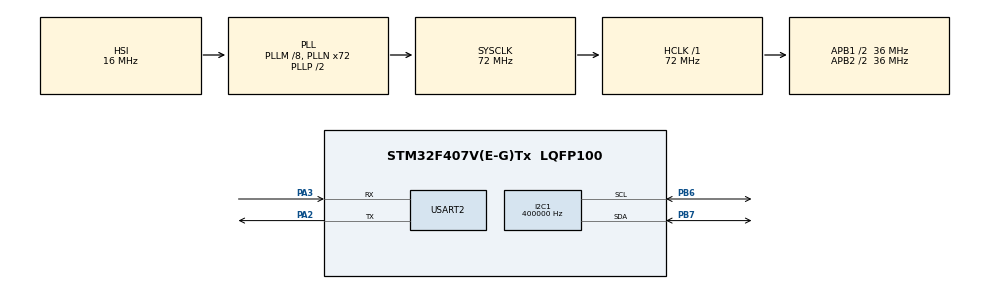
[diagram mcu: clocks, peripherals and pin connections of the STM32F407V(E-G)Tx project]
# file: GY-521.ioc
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I2C1.ClockSpeed=400000
I2C1.I2C_Mode=I2C_Fast
Mcu.Family=STM32F4
Mcu.Name=STM32F407V(E-G)Tx
Mcu.Package=LQFP100
NVIC.PriorityGroup=NVIC_PRIORITYGROUP_4
NVIC.USART2_IRQn=true\:0\:0\:false\:false\:true
PA13.Mode=Serial_Wire
PA13.Signal=SYS_JTMS-SWDIO
PA14.Mode=Serial_Wire
PA14.Signal=SYS_JTCK-SWCLK
PA2.Mode=Asynchronous
PA2.Signal=USART2_TX
PA3.Mode=Asynchronous
PA3.Signal=USART2_RX
PB6.Mode=I2C
PB6.Signal=I2C1_SCL
PB7.Mode=I2C
PB7.Signal=I2C1_SDA
ProjectManager.HeapSize=0x200
ProjectManager.StackSize=0x400
ProjectManager.TargetToolchain=SW4STM32
RCC.48MHZClocksFreq_Value=36000000
RCC.AHBFreq_Value=72000000
RCC.APB1CLKDivider=RCC_HCLK_DIV2
RCC.APB1Freq_Value=36000000
RCC.APB1TimFreq_Value=72000000
RCC.APB2CLKDivider=RCC_HCLK_DIV2
RCC.APB2Freq_Value=36000000
RCC.APB2TimFreq_Value=72000000
RCC.CortexFreq_Value=72000000
RCC.HCLKFreq_Value=72000000
RCC.HSE_VALUE=25000000
RCC.HSI_VALUE=16000000
RCC.LSE_VALUE=32768
RCC.PLLM=8
RCC.PLLN=72
RCC.SYSCLKFreq_VALUE=72000000
RCC.SYSCLKSource=RCC_SYSCLKSOURCE_PLLCLK
RCC.VCOOutputFreq_Value=144000000
board=GY-521

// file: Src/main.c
/**
  ******************************************************************************
  * File Name          : main.c
  * Description        : Main program body
  ******************************************************************************
  *
  * COPYRIGHT(c) 2016 STMicroelectronics
  *
  * Redistribution and use in source and binary forms, with or without modification,
  * are permitted provided that the following conditions are met:
  *   1. Redistributions of source code must retain the above copyright notice,
  *      this list of conditions and the following disclaimer.
  *   2. Redistributions in binary form must reproduce the above copyright notice,
  *      this list of conditions and the following disclaimer in the documentation
  *      and/or other materials provided with the distribution.
  *   3. Neither the name of STMicroelectronics nor the names of its contributors
  *      may be used to endorse or promote products derived from this software
  *      without specific prior written permission.
  *
  * THIS SOFTWARE IS PROVIDED BY THE COPYRIGHT HOLDERS AND CONTRIBUTORS "AS IS"
  * AND ANY EXPRESS OR IMPLIED WARRANTIES, INCLUDING, BUT NOT LIMITED TO, THE
  * IMPLIED WARRANTIES OF MERCHANTABILITY AND FITNESS FOR A PARTICULAR PURPOSE ARE
  * DISCLAIMED. IN NO EVENT SHALL THE COPYRIGHT HOLDER OR CONTRIBUTORS BE LIABLE
  * FOR ANY DIRECT, INDIRECT, INCIDENTAL, SPECIAL, EXEMPLARY, OR CONSEQUENTIAL
  * DAMAGES (INCLUDING, BUT NOT LIMITED TO, PROCUREMENT OF SUBSTITUTE GOODS OR
  * SERVICES; LOSS OF USE, DATA, OR PROFITS; OR BUSINESS INTERRUPTION) HOWEVER
  * CAUSED AND ON ANY THEORY OF LIABILITY, WHETHER IN CONTRACT, STRICT LIABILITY,
  * OR TORT (INCLUDING NEGLIGENCE OR OTHERWISE) ARISING IN ANY WAY OUT OF THE USE
  * OF THIS SOFTWARE, EVEN IF ADVISED OF THE POSSIBILITY OF SUCH DAMAGE.
  *
  ******************************************************************************
  */
#include "main.h"
#include "stm32f4xx_hal.h"
#include "i2c.h"
#include "usart.h"
#include "gpio.h"
#include <stdio.h>

/* USER CODE BEGIN Includes */
#include "EV_MPU6050_hal.h"
/* USER CODE END Includes */

/* USER CODE BEGIN PV */

/* Private variables ---------------------------------------------------------*/
//I2C_HandleTypeDef hi2c1;
////////////////////////////////////////////////////////////////////////////////
 MPU6050 mpu1;
////////////////////////////////////////////////////////////////////////////////
/* USER CODE END PV */

void SystemClock_Config(void);
void Error_Handler(void);

/* USER CODE BEGIN PFP */
/* Private function prototypes -----------------------------------------------*/

/* USER CODE END PFP */

int main(void)
{

  /* USER CODE BEGIN 1 */
	MPU6050_Result result ;
//	uint16_t str[] = "Usart transmit ";
//	uint8_t mpu_ok[15] = {"MPU WORK FINE\n"};
//	uint8_t mpu_not[17] = {"MPU NOT WORKING\n"};
  /* USER CODE END 1 */

  /* MCU Configuration----------------------------------------------------------*/

  /* Reset of all peripherals, Initializes the Flash interface and the Systick. */
  HAL_Init();

  /* Configure the system clock */
  SystemClock_Config();

  /* Initialize all configured peripherals */
  MX_GPIO_Init();
  MX_I2C1_Init();
  MX_USART2_UART_Init();

  /* USER CODE BEGIN 2 */
  int i=0;
  char buf[40] ={0};
  result = MPU6050_Init(&hi2c1,&mpu1,MPU6050_Device_0,MPU6050_Accelerometer_2G,MPU6050_Gyroscope_250s );
  /* USER CODE END 2 */

  /* Infinite loop */
  /* USER CODE BEGIN WHILE */
  while (1)
  {

	HAL_Delay(500);

	//HAL_Delay(500);
	MPU6050_ReadTemperature(&hi2c1,&mpu1);
	float temper = mpu1.Temperature;
	MPU6050_ReadGyroscope(&hi2c1,&mpu1);
	int16_t g_x = mpu1.Gyroscope_X;
	int16_t g_y = mpu1.Gyroscope_Y;
	int16_t g_z = mpu1.Gyroscope_Z;

	MPU6050_ReadAccelerometer(&hi2c1,&mpu1);
	int16_t a_x = mpu1.Accelerometer_X;
	int16_t a_y = mpu1.Accelerometer_Y;
	int16_t a_z = mpu1.Accelerometer_Z;

	memset (buf, 0, (sizeof(buf)/sizeof(char)));

	sprintf((char*)buf, " g_x=%d g_y=%d g_z=%d \n\r", g_x, g_y, g_z);

	i = (sizeof(buf)/sizeof(char)) ;
	HAL_UART_Transmit(&huart2, buf,--i , 0xFFFF);

	memset (buf, 0, (sizeof(buf)/sizeof(char)));

	sprintf((char*)buf, " a_x=%d a_y=%d a_z=%d \n\r", a_x, a_y, a_z);
	i = (sizeof(buf)/sizeof(char)) ;
	HAL_UART_Transmit(&huart2, buf,--i , 0xFFFF);

	//sprintf((char*)buf, "temper= %f \n\r", temper);

	//i = (sizeof(buf)/sizeof(char)) ;

	//HAL_UART_Transmit(&huart2, buf,--i , 1000);
	//HAL_UART_Transmit(&huart2, temper,1, 0xFFFF);

  /* USER CODE END WHILE */

  }

}

/** System Clock Configuration
*/
void SystemClock_Config(void)
{

  RCC_OscInitTypeDef RCC_OscInitStruct;
  RCC_ClkInitTypeDef RCC_ClkInitStruct;

    /**Configure the main internal regulator output voltage
    */
  __HAL_RCC_PWR_CLK_ENABLE();

  __HAL_PWR_VOLTAGESCALING_CONFIG(PWR_REGULATOR_VOLTAGE_SCALE1);

    /**Initializes the CPU, AHB and APB busses clocks
    */
  RCC_OscInitStruct.OscillatorType = RCC_OSCILLATORTYPE_HSI;
  RCC_OscInitStruct.HSIState = RCC_HSI_ON;
  RCC_OscInitStruct.HSICalibrationValue = 16;
  RCC_OscInitStruct.PLL.PLLState = RCC_PLL_ON;
  RCC_OscInitStruct.PLL.PLLSource = RCC_PLLSOURCE_HSI;
  RCC_OscInitStruct.PLL.PLLM = 8;
  RCC_OscInitStruct.PLL.PLLN = 72;
  RCC_OscInitStruct.PLL.PLLP = RCC_PLLP_DIV2;
  RCC_OscInitStruct.PLL.PLLQ = 4;
  if (HAL_RCC_OscConfig(&RCC_OscInitStruct) != HAL_OK)
  {
    Error_Handler();
  }

    /**Initializes the CPU, AHB and APB busses clocks
    */
  RCC_ClkInitStruct.ClockType = RCC_CLOCKTYPE_HCLK|RCC_CLOCKTYPE_SYSCLK
                              |RCC_CLOCKTYPE_PCLK1|RCC_CLOCKTYPE_PCLK2;
  RCC_ClkInitStruct.SYSCLKSource = RCC_SYSCLKSOURCE_PLLCLK;
  RCC_ClkInitStruct.AHBCLKDivider = RCC_SYSCLK_DIV1;
  RCC_ClkInitStruct.APB1CLKDivider = RCC_HCLK_DIV2;
  RCC_ClkInitStruct.APB2CLKDivider = RCC_HCLK_DIV2;

  if (HAL_RCC_ClockConfig(&RCC_ClkInitStruct, FLASH_LATENCY_2) != HAL_OK)
  {
    Error_Handler();
  }

    /**Configure the Systick interrupt time
    */
  HAL_SYSTICK_Config(HAL_RCC_GetHCLKFreq()/1000);

    /**Configure the Systick
    */
  HAL_SYSTICK_CLKSourceConfig(SYSTICK_CLKSOURCE_HCLK);

  /* SysTick_IRQn interrupt configuration */
  HAL_NVIC_SetPriority(SysTick_IRQn, 0, 0);
}

/* USER CODE BEGIN 4 */
/////////////////////////////////////////////////////////////////////////////////////////////////////////////////////////////

/////////////////////////////////////////////////////////////////////////////////////////////////////////////////////
/* USER CODE END 4 */

void Error_Handler(void)
{
  while(1)
  {
  }
}

/************************ (C) COPYRIGHT STMicroelectronics *****END OF FILE****/
